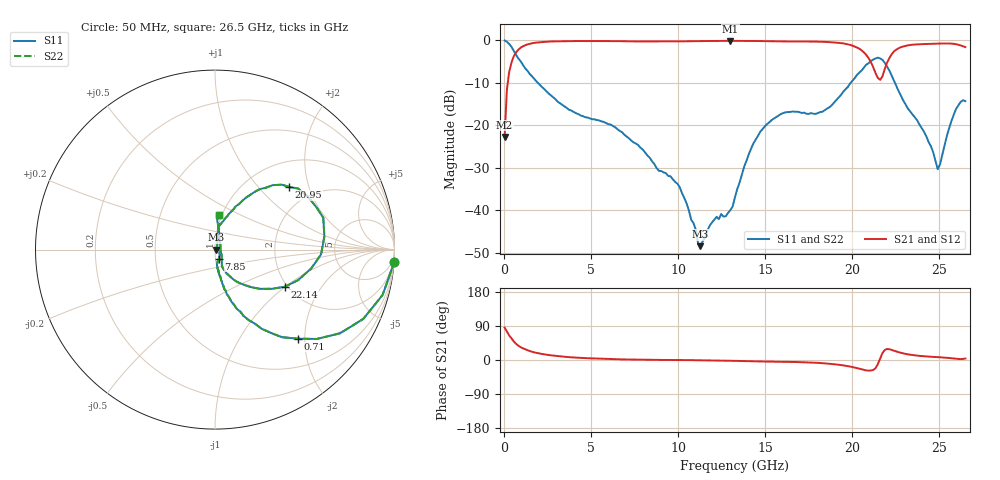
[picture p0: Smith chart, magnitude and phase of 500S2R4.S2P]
!  American Technical Ceramics  Date:  3/6/98
!  One Norden Lane
!  Huntington Station,  NY.  11746-2102
!  Tel:  (516) 547-5700  Fax:  (516) 547-5748
!  Part Number  500S2R4
!  Description: Broadband Microwave capacitor
!  Application:
# GHZ S DB R 50
! Freq  |S11|  S11 Ph  |S21|  S21 Ph  |S12|  S12 Ph  |S22|  S22 Ph
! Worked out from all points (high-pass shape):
!   201 points, 50 MHz to 26.5 GHz, reference 50 ohm
!   highest |S21| = -0.09 dB at 13.01 GHz (marker M1); lowest = -22.7 dB at 50 MHz (marker M2)
!   |S21| within 3 dB of the highest: 665.7 MHz to 20.74 GHz (20.07 GHz wide, 188 % of centre); 22.3 GHz to end of sweep
!   lowest |S11| = -48.5 dB at 11.29 GHz (marker M3), VSWR 1.01, Z = 50.4 - j0.0165 ohm
!   |S11| at or under -10 dB: 1.965 GHz to 19.91 GHz (17.94 GHz wide, 164 % of centre); 22.45 GHz to end of sweep
!   |S22| runs from -48.5 to 0.0 dB; largest |S21 - S12| = 0
!   S11 on the Smith chart (normalised r, x): 50 MHz: -0, -29; 710 MHz: 1.01, -1.85; 7.85 GHz: 1.04, -0.10; 20.95 GHz: 1.52, +1.50; 22.14 GHz: 1.94, -1.00; 26.5 GHz: 0.97, +0.39
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0.05  0.01 -4.0  -22.72 85.3  -22.72 85.3  0.01 -4.0
0.18  -0.29 -15.2  -11.68 75.2  -11.68 75.2  -0.29 -15.2
0.31  -0.80 -25.1  -7.44 65.0  -7.44 65.0  -0.80 -25.1
0.71  -3.39 -47.1  -2.79 42.4  -2.79 42.4  -3.39 -47.1
1.77  -9.14 -69.9  -0.54 19.9  -0.54 19.9  -9.14 -69.9
4.55  -17.84 -80.9  -0.13 5.3  -0.13 5.3  -17.84 -80.9
7.85  -25.28 -67.2  -0.22 1.0  -0.22 1.0  -25.28 -67.2
8.91  -30.71 -27.8  -0.22 0.2  -0.22 0.2  -30.71 -27.8
10.1  -34.55 11.4  -0.22 -0.1  -0.22 -0.1  -34.55 11.4
11.29  -48.46 -2.5  -0.13 -0.7  -0.13 -0.7  -48.46 -2.5
13.01  -39.98 8.9  -0.09 -2.0  -0.09 -2.0  -39.98 8.9
13.28  -36.82 42.3  -0.10 -2.2  -0.10 -2.2  -36.82 42.3
14.99  -20.22 79.4  -0.17 -4.2  -0.17 -4.2  -20.22 79.4
17.77  -17.25 79.7  -0.25 -6.9  -0.25 -6.9  -17.25 79.7
19.89  -10.09 60.7  -1.03 -17.4  -1.03 -17.4  -10.09 60.7
20.95  -5.33 40.1  -4.20 -28.1  -4.20 -28.1  -5.33 40.1
21.61  -4.24 6.9  -9.28 3.9  -9.28 3.9  -4.24 6.9
22.14  -7.10 -27.9  -4.11 28.5  -4.11 28.5  -7.10 -27.9
22.93  -14.12 -58.2  -1.41 17.5  -1.41 17.5  -14.12 -58.2
24.91  -30.33 -3.2  -0.74 7.5  -0.74 7.5  -30.33 -3.2
25.97  -16.09 85.2  -0.88 3.2  -0.88 3.2  -16.09 85.2
26.5  -14.30 82.8  -1.55 4.0  -1.55 4.0  -14.30 82.8
